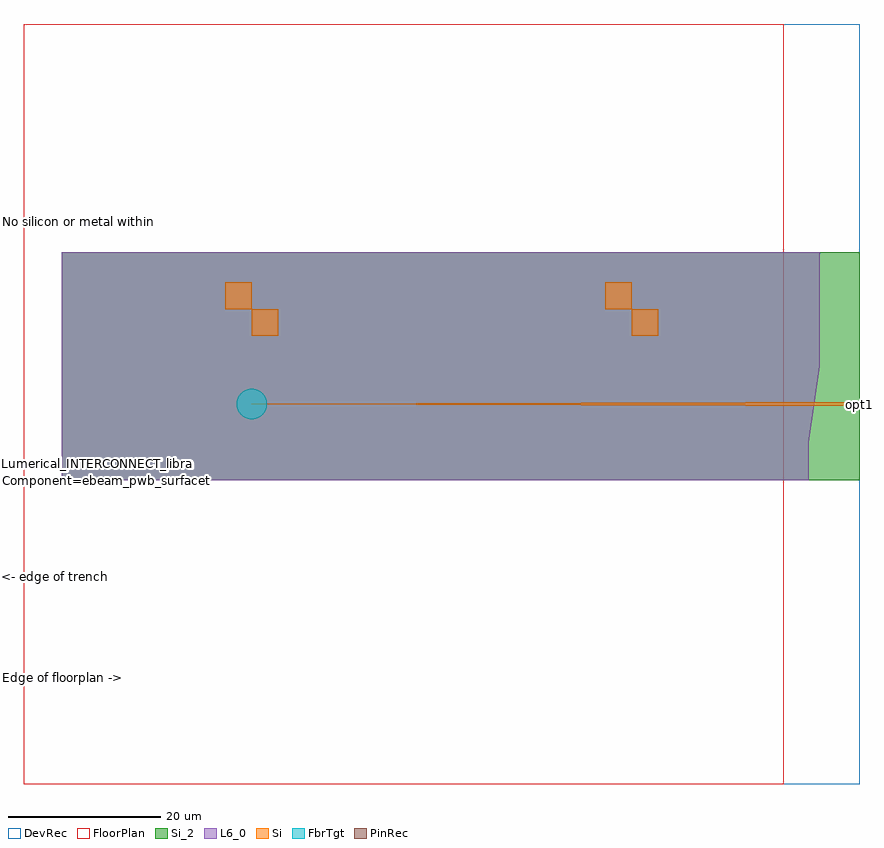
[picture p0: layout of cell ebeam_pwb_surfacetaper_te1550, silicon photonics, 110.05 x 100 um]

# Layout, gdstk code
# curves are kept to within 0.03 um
import gdstk
lib = gdstk.Library(unit=1e-6, precision=1e-09)
def R(c, l, rs):  # rectangles x0, y0, x1, y1
    for r in rs: c.add(gdstk.rectangle(r[:2], r[2:], *l))
def P(c, l, *ps):  # polygons
    for p in ps: c.add(gdstk.Polygon(p, *l))
Si = (1, 0)
Si_2 = (1, 2)
PinRec = (1, 10)
L6_0 = (6, 0)
DevRec = (68, 0)
FbrTgt = (81, 0)
FloorPlan = (99, 0)

ebeam_pwb_surfacetaper_t = lib.new_cell('ebeam_pwb_surfacetaper_te1550')
R(ebeam_pwb_surfacetaper_t, Si, [(-15,-0.25,0,0.25)])
P(ebeam_pwb_surfacetaper_t, Si, [(-80,9),(-80,12.4),(-80.101,12.5),(-83.5,12.5),(-83.5,16),(-80,16),(-80,12.6),(-79.9,12.5),(-76.5,12.5),(-76.5,9)],
  [(-30,9),(-30,12.4),(-30.1,12.5),(-33.5,12.5),(-33.5,16),(-30,16),(-30,12.6),(-29.901,12.5),(-26.5,12.5),(-26.5,9)],
  [(-15,-0.25),(-80,-0.03),(-80,0.03),(-15,0.25)])
R(ebeam_pwb_surfacetaper_t, Si_2, [(-105,-10,0,20)])
P(ebeam_pwb_surfacetaper_t, L6_0, [(-105,-10),(-105,20),(-5.298,20),(-5.298,5),(-6.703,-5),(-6.703,-10)])
R(ebeam_pwb_surfacetaper_t, DevRec, [(-109.999,-50,0,50)])
P(ebeam_pwb_surfacetaper_t, FbrTgt, [(-80,-2),(-80.347,-1.97),(-80.749,-1.854),(-81.06,-1.696),(-81.389,-1.439),(-81.618,-1.176),(-81.827,-0.813),(-81.956,-0.416),(-82,0),(-81.97,0.347),(-81.854,0.749),(-81.696,1.06),(-81.439,1.389),(-81.176,1.618),(-80.813,1.827),(-80.416,1.956),(-80,2),(-79.653,1.97),(-79.251,1.854),(-78.94,1.696),(-78.611,1.439),(-78.382,1.176),(-78.173,0.813),(-78.044,0.416),(-78,0),(-78.03,-0.347),(-78.146,-0.749),(-78.304,-1.06),(-78.561,-1.389),(-78.824,-1.618),(-79.187,-1.827),(-79.584,-1.956)])
R(ebeam_pwb_surfacetaper_t, FloorPlan, [(-109.999,-50,-9.999,50)])
ebeam_pwb_surfacetaper_t.add(gdstk.FlexPath([(-0.05,0),(0.05,0)], 0.5, ends="flush", simple_path=True, layer=1, datatype=10))  # PinRec
ebeam_pwb_surfacetaper_t.add(gdstk.Label('No silicon or metal \nwithin this box', (-110,24.078), layer=10, texttype=0))
ebeam_pwb_surfacetaper_t.add(gdstk.Label('<- edge of trench', (-110,-22.754), layer=10, texttype=0))
ebeam_pwb_surfacetaper_t.add(gdstk.Label('Edge of floorplan ->', (-107.8,-35.961), layer=10, texttype=0))
ebeam_pwb_surfacetaper_t.add(gdstk.Label('opt1', (0,0), layer=1, texttype=10))
ebeam_pwb_surfacetaper_t.add(gdstk.Label('Component=ebeam_pwb_surfacetaper_te1550', (-105,-10), layer=68, texttype=0))
ebeam_pwb_surfacetaper_t.add(gdstk.Label('Lumerical_INTERCONNECT_library=Design kits/SiPICfab', (-105,-7.815), layer=68, texttype=0))

lib.write_gds('ebeam_pwb_surfacetaper_te1550.gds')
